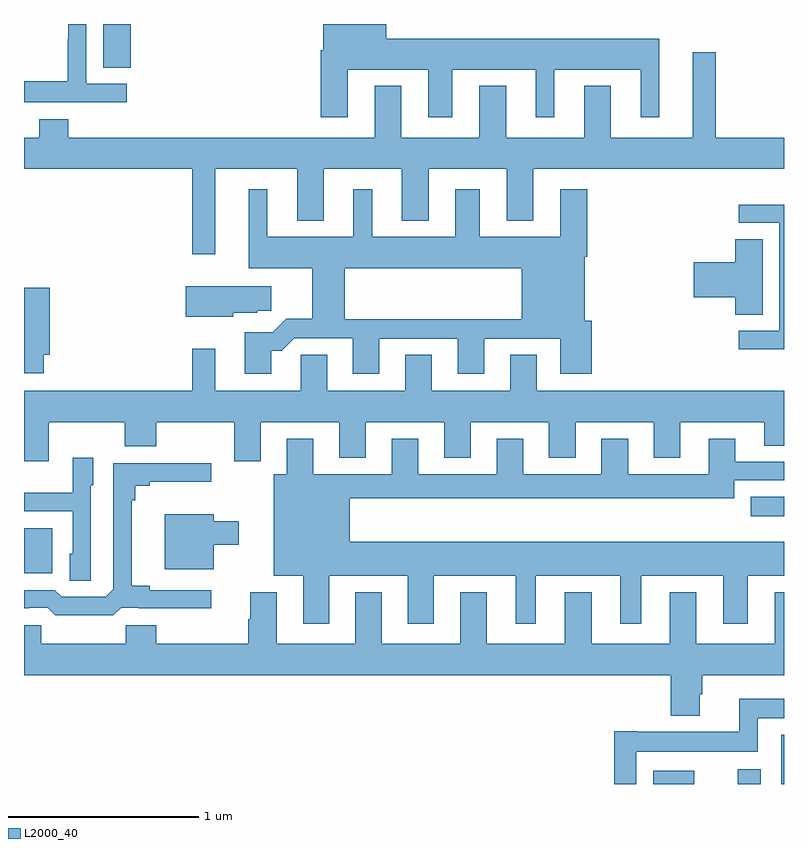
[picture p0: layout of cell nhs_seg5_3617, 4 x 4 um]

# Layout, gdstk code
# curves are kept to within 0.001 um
import gdstk
lib = gdstk.Library(unit=1e-6, precision=1e-09)
def R(c, l, rs):  # rectangles x0, y0, x1, y1
    for r in rs: c.add(gdstk.rectangle(r[:2], r[2:], *l))
def P(c, l, *ps):  # polygons
    for p in ps: c.add(gdstk.Polygon(p, *l))
L2000_40 = (2000, 40)

nhs_seg5_3617 = lib.new_cell('nhs_seg5_3617')
R(nhs_seg5_3617, L2000_40, [(326.312,910.799,326.527,910.87), (326.756,910.799,326.878,910.876), (326.985,910.799,327,911.059), (323,911.909,323.149,912.145), (326.826,912.209,327,912.31), (323.417,914.569,323.561,914.799)])
P(nhs_seg5_3617, L2000_40, [(323.542,914.484),(323.328,914.484),(323.328,914.799),(323.232,914.799),(323.232,914.72),(323.23,914.72),(323.23,914.497),(323,914.497),(323,914.388),(323.542,914.388)],
  [(324.703,914.558),(325.127,914.558),(325.127,914.307),(325.255,914.307),(325.255,914.558),(325.694,914.558),(325.694,914.307),(325.792,914.307),(325.792,914.558),(326.246,914.558),(326.246,914.307),(326.344,914.307),(326.344,914.722),(324.907,914.722),(324.907,914.799),(324.575,914.799),(324.575,914.662),(324.563,914.662),(324.563,914.307),(324.703,914.307)],
  [(324.007,914.036),(324.437,914.036),(324.437,913.763),(324.577,913.763),(324.577,914.036),(324.989,914.036),(324.989,913.763),(325.129,913.763),(325.129,914.036),(325.541,914.036),(325.541,913.763),(325.681,913.763),(325.681,914.036),(327,914.036),(327,914.2),(326.641,914.2),(326.641,914.65),(326.519,914.65),(326.519,914.2),(326.089,914.2),(326.089,914.473),(325.949,914.473),(325.949,914.2),(325.537,914.2),(325.537,914.473),(325.397,914.473),(325.397,914.2),(324.985,914.2),(324.985,914.473),(324.845,914.473),(324.845,914.2),(323.234,914.2),(323.234,914.299),(323.081,914.299),(323.081,914.2),(323,914.2),(323,914.036),(323.886,914.036),(323.886,913.587),(324.007,913.587)],
  [(324.161,913.176),(324.161,912.957),(324.301,912.957),(324.301,913.079),(324.356,913.079),(324.423,913.146),(324.731,913.146),(324.731,912.957),(324.871,912.957),(324.871,913.143),(325.283,913.143),(325.283,912.957),(325.423,912.957),(325.423,913.143),(325.823,913.143),(325.823,912.957),(325.988,912.957),(325.988,913.236),(325.951,913.236),(325.951,913.574),(325.964,913.574),(325.964,913.93),(325.823,913.93),(325.823,913.678),(325.399,913.678),(325.399,913.93),(325.271,913.93),(325.271,913.678),(324.832,913.678),(324.832,913.93),(324.734,913.93),(324.734,913.678),(324.28,913.678),(324.28,913.93),(324.182,913.93),(324.182,913.514),(324.518,913.514),(324.518,913.247),(324.38,913.247),(324.377,913.244),(324.689,913.244),(324.689,913.514),(325.619,913.514),(325.619,913.244),(324.377,913.244),(324.309,913.176)],
  [(327,913.848),(326.763,913.848),(326.763,913.752),(326.976,913.752),(326.976,913.185),(326.763,913.185),(326.763,913.087),(327,913.087)],
  [(326.887,913.667),(326.744,913.667),(326.744,913.544),(326.526,913.544),(326.526,913.361),(326.744,913.361),(326.744,913.27),(326.887,913.27)],
  [(324.102,913.28),(324.228,913.28),(324.228,913.291),(324.301,913.291),(324.301,913.42),(323.852,913.42),(323.852,913.259),(324.102,913.259)],
  [(323.105,913.058),(323.135,913.058),(323.135,913.411),(323,913.411),(323,912.96),(323.105,912.96)],
  [(324.659,912.515),(324.799,912.515),(324.799,912.704),(325.211,912.704),(325.211,912.515),(325.351,912.515),(325.351,912.704),(325.763,912.704),(325.763,912.515),(325.903,912.515),(325.903,912.704),(326.315,912.704),(326.315,912.515),(326.455,912.515),(326.455,912.704),(326.897,912.704),(326.897,912.58),(327,912.58),(327,912.868),(325.699,912.868),(325.699,913.058),(325.559,913.058),(325.559,912.868),(325.147,912.868),(325.147,913.058),(325.007,913.058),(325.007,912.868),(324.595,912.868),(324.595,913.058),(324.456,913.058),(324.456,912.868),(324.007,912.868),(324.007,913.09),(323.886,913.09),(323.886,912.868),(323,912.868),(323,912.498),(323.131,912.498),(323.131,912.704),(323.531,912.704),(323.531,912.576),(323.695,912.576),(323.695,912.704),(324.107,912.704),(324.107,912.498),(324.247,912.498),(324.247,912.704),(324.659,912.704)],
  [(324.607,911.894),(325.019,911.894),(325.019,911.643),(325.156,911.643),(325.156,911.894),(325.589,911.894),(325.589,911.643),(325.693,911.643),(325.693,911.894),(326.138,911.894),(326.138,911.643),(326.248,911.643),(326.248,911.894),(326.681,911.894),(326.681,911.643),(326.809,911.643),(326.809,911.894),(327,911.894),(327,912.073),(324.715,912.073),(324.715,912.302),(326.737,912.302),(326.737,912.399),(327,912.399),(327,912.495),(326.743,912.495),(326.743,912.616),(326.603,912.616),(326.603,912.43),(326.179,912.43),(326.179,912.616),(326.039,912.616),(326.039,912.43),(325.627,912.43),(325.627,912.616),(325.487,912.616),(325.487,912.43),(325.075,912.43),(325.075,912.616),(324.935,912.616),(324.935,912.43),(324.523,912.43),(324.523,912.616),(324.383,912.616),(324.383,912.43),(324.314,912.43),(324.314,911.894),(324.47,911.894),(324.47,911.643),(324.607,911.643)],
  [(323.352,912.372),(323.365,912.372),(323.365,912.517),(323.256,912.517),(323.256,912.331),(323,912.331),(323,912.234),(323.256,912.234),(323.256,912.012),(323.24,912.012),(323.24,911.869),(323.352,911.869)],
  [(323.511,911.727),(323.605,911.727),(323.605,911.723),(323.986,911.723),(323.986,911.82),(323.662,911.82),(323.662,911.843),(323.566,911.843),(323.566,912.293),(323.585,912.293),(323.585,912.37),(323.662,912.37),(323.662,912.389),(323.986,912.389),(323.986,912.486),(323.469,912.486),(323.469,911.823),(323.43,911.784),(323.199,911.784),(323.163,911.82),(323,911.82),(323,911.723),(323.024,911.723),(323.024,911.727),(323.124,911.727),(323.164,911.688),(323.471,911.688)],
  [(323.998,912.059),(324.13,912.059),(324.13,912.181),(323.998,912.181),(323.998,912.22),(323.741,912.22),(323.741,911.93),(323.998,911.93)],
  [(326.557,911.271),(326.57,911.271),(326.57,911.372),(327,911.372),(327,911.809),(326.951,911.809),(326.951,911.536),(326.539,911.536),(326.539,911.809),(326.399,911.809),(326.399,911.536),(325.987,911.536),(325.987,911.809),(325.847,911.809),(325.847,911.536),(325.435,911.536),(325.435,911.809),(325.295,911.809),(325.295,911.536),(324.883,911.536),(324.883,911.809),(324.743,911.809),(324.743,911.536),(324.331,911.536),(324.331,911.809),(324.191,911.809),(324.191,911.667),(324.179,911.667),(324.179,911.536),(323.696,911.536),(323.696,911.634),(323.536,911.634),(323.536,911.536),(323.091,911.536),(323.091,911.634),(323,911.634),(323,911.372),(326.405,911.372),(326.405,911.159),(326.557,911.159)],
  [(326.223,910.97),(326.862,910.97),(326.862,911.144),(327,911.144),(327,911.248),(326.765,911.248),(326.765,911.074),(326.23,911.074),(326.23,911.077),(326.107,911.077),(326.107,910.799),(326.223,910.799)])

lib.write_gds('nhs_seg5_3617.gds')
